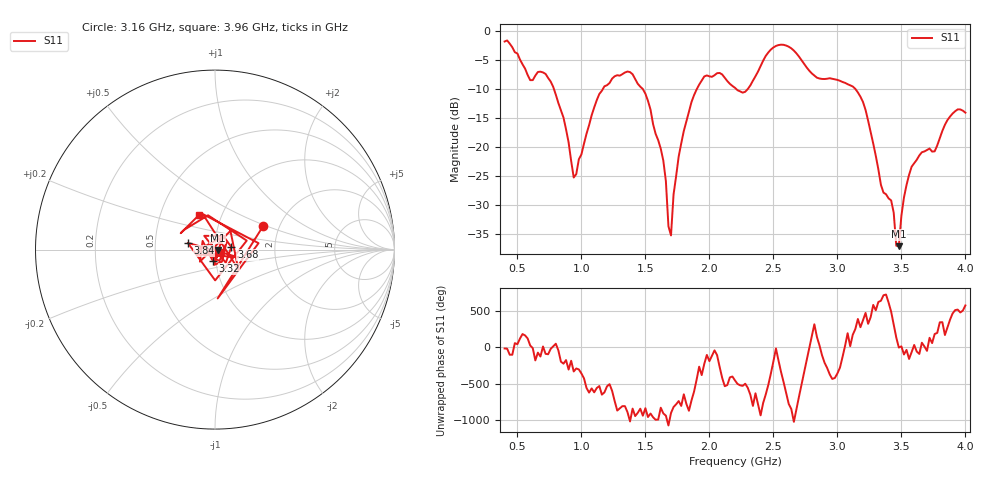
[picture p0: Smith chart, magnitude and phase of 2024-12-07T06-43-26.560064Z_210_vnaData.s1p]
!Created with skrf (http://scikit-rf.org).
# Hz S RI R 50.0
!freq ReS11 ImS11
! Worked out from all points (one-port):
!   181 points, 400 MHz to 4 GHz, reference 50 ohm
!   lowest |S11| = -37.0 dB at 3.48 GHz (marker M1), VSWR 1.03, Z = 51.4 - j0.143 ohm
!   |S11| at or under -10 dB: 785.7 MHz to 1.167 GHz (381.3 MHz wide, 39.1 % of centre); 1.48 GHz to 1.901 GHz (420.9 MHz wide, 24.9 % of centre); 3.142 GHz to end of sweep (the widest 3 of 4)
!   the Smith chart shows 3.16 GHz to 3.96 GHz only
!   S11 on the Smith chart (normalised r, x): 3.16 GHz: 1.65, +0.47; 3.32 GHz: 0.97, -0.12; 3.68 GHz: 1.20, +0.03; 3.84 GHz: 0.73, +0.06; 3.96 GHz: 0.78, +0.31
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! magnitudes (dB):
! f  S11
! 400 MHz  -1.8
! 600 MHz  -8.4
! 720 MHz  -7.4
! 860 MHz  -14.9
! 940 MHz  -25.2
! 1.14 GHz  -10.8
! 1.3 GHz  -7.7
! 1.52 GHz  -12.0
! 1.64 GHz  -22.3
! 1.68 GHz  -33.6
! 1.7 GHz  -35.2
! 1.72 GHz  -28.1
! 1.76 GHz  -21.6
! 1.96 GHz  -7.8
! 2.2 GHz  -9.8
! 2.5 GHz  -2.8
! 2.66 GHz  -3.4
! 3.1 GHz  -9.3
! 3.16 GHz  -10.6
! 3.32 GHz  -23.8
! 3.42 GHz  -29.1
! 3.46 GHz  -36.9
! 3.48 GHz  -37.0
! 3.56 GHz  -24.8
! 3.68 GHz  -20.7
! 3.84 GHz  -16.1
! 3.96 GHz  -13.5
! 4 GHz  -14.0
